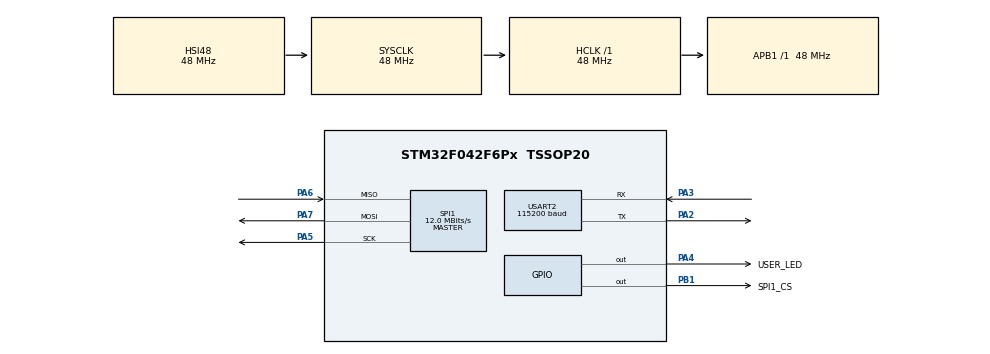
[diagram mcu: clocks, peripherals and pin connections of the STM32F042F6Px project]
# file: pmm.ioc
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Mcu.Family=STM32F0
Mcu.Name=STM32F042F6Px
Mcu.Package=TSSOP20
NVIC.USART2_IRQn=true\:0\:0\:false\:false\:true\:true
PA13.Mode=Serial_Wire
PA13.Signal=SYS_SWDIO
PA14.Mode=Serial_Wire
PA14.Signal=SYS_SWCLK
PA2.Mode=Asynchronous
PA2.Signal=USART2_TX
PA3.Mode=Asynchronous
PA3.Signal=USART2_RX
PA4.GPIO_Label=USER_LED
PA4.PinState=GPIO_PIN_SET
PA4.Signal=GPIO_Output
PA5.Mode=Full_Duplex_Master
PA5.Signal=SPI1_SCK
PA6.Mode=Full_Duplex_Master
PA6.Signal=SPI1_MISO
PA7.Mode=Full_Duplex_Master
PA7.Signal=SPI1_MOSI
PB1.GPIO_Label=SPI1_CS
PB1.GPIO_ModeDefaultOutputPP=GPIO_MODE_OUTPUT_OD
PB1.PinState=GPIO_PIN_SET
PB1.Signal=GPIO_Output
ProjectManager.HeapSize=0x200
ProjectManager.StackSize=0x400
ProjectManager.TargetToolchain=MDK-ARM V5
RCC.AHBFreq_Value=48000000
RCC.APB1Freq_Value=48000000
RCC.APB1TimFreq_Value=48000000
RCC.HCLKFreq_Value=48000000
RCC.SYSCLKFreq_VALUE=48000000
RCC.SYSCLKSource=RCC_SYSCLKSOURCE_HSI48
SPI1.BaudRatePrescaler=SPI_BAUDRATEPRESCALER_4
SPI1.CLKPhase=SPI_PHASE_2EDGE
SPI1.CalculateBaudRate=12.0 MBits/s
SPI1.DataSize=SPI_DATASIZE_8BIT
SPI1.Direction=SPI_DIRECTION_2LINES
SPI1.Mode=SPI_MODE_MASTER
SPI1.VirtualType=VM_MASTER
USART2.BaudRate=115200
USART2.Mode=MODE_TX_RX
USART2.VirtualMode-Asynchronous=VM_ASYNC
VP_SYS_VS_PINREMAP.Mode=PINREMAP
board=custom

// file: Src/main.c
/**
  ******************************************************************************
  * @file           : main.c
  * @brief          : Main program body
  ******************************************************************************
  ** This notice applies to any and all portions of this file
  * that are not between comment pairs USER CODE BEGIN and
  * USER CODE END. Other portions of this file, whether
  * inserted by the user or by software development tools
  * are owned by their respective copyright owners.
  *
  * COPYRIGHT(c) 2020 STMicroelectronics
  *
  * Redistribution and use in source and binary forms, with or without modification,
  * are permitted provided that the following conditions are met:
  *   1. Redistributions of source code must retain the above copyright notice,
  *      this list of conditions and the following disclaimer.
  *   2. Redistributions in binary form must reproduce the above copyright notice,
  *      this list of conditions and the following disclaimer in the documentation
  *      and/or other materials provided with the distribution.
  *   3. Neither the name of STMicroelectronics nor the names of its contributors
  *      may be used to endorse or promote products derived from this software
  *      without specific prior written permission.
  *
  * THIS SOFTWARE IS PROVIDED BY THE COPYRIGHT HOLDERS AND CONTRIBUTORS "AS IS"
  * AND ANY EXPRESS OR IMPLIED WARRANTIES, INCLUDING, BUT NOT LIMITED TO, THE
  * IMPLIED WARRANTIES OF MERCHANTABILITY AND FITNESS FOR A PARTICULAR PURPOSE ARE
  * DISCLAIMED. IN NO EVENT SHALL THE COPYRIGHT HOLDER OR CONTRIBUTORS BE LIABLE
  * FOR ANY DIRECT, INDIRECT, INCIDENTAL, SPECIAL, EXEMPLARY, OR CONSEQUENTIAL
  * DAMAGES (INCLUDING, BUT NOT LIMITED TO, PROCUREMENT OF SUBSTITUTE GOODS OR
  * SERVICES; LOSS OF USE, DATA, OR PROFITS; OR BUSINESS INTERRUPTION) HOWEVER
  * CAUSED AND ON ANY THEORY OF LIABILITY, WHETHER IN CONTRACT, STRICT LIABILITY,
  * OR TORT (INCLUDING NEGLIGENCE OR OTHERWISE) ARISING IN ANY WAY OUT OF THE USE
  * OF THIS SOFTWARE, EVEN IF ADVISED OF THE POSSIBILITY OF SUCH DAMAGE.
  *
  ******************************************************************************
  */
#include "main.h"
#include "stm32f0xx_hal.h"

/* USER CODE BEGIN Includes */
#include <stdio.h>
#include <string.h>
#include "helpers.h"
#include "shared.h"
/* USER CODE END Includes */

SPI_HandleTypeDef hspi1;

UART_HandleTypeDef huart2;

/* USER CODE BEGIN PV */
/* Private variables ---------------------------------------------------------*/
linear_buf uart_lb;
uint8_t uart_byte_buf[1];
uint16_t keypad_buf;
/* USER CODE END PV */

void SystemClock_Config(void);
static void MX_GPIO_Init(void);
static void MX_USART2_UART_Init(void);
static void MX_SPI1_Init(void);

/* USER CODE BEGIN PFP */
/* Private function prototypes -----------------------------------------------*/

/* USER CODE END PFP */

/* USER CODE BEGIN 0 */
int fputc(int ch, FILE *f)
{
    HAL_UART_Transmit(&huart2, (unsigned char *)&ch, 1, 100);
    return ch;
}

void HAL_UART_RxCpltCallback(UART_HandleTypeDef *huart)
{
  linear_buf_add(&uart_lb, uart_byte_buf[0]);
  // printf("%c", uart_byte_buf[0]);
}
/* USER CODE END 0 */

int main(void)
{

  /* MCU Configuration----------------------------------------------------------*/

  /* Reset of all peripherals, Initializes the Flash interface and the Systick. */
  HAL_Init();

  /* Configure the system clock */
  SystemClock_Config();

  /* Initialize all configured peripherals */
  MX_GPIO_Init();
  MX_USART2_UART_Init();
  MX_SPI1_Init();
  /* USER CODE BEGIN 2 */
  spi_test(0);
  HAL_Delay(500);
  printf("pimp my microwave\n");
  linear_buf_init(&uart_lb, 32);

  /* USER CODE END 2 */

  /* Infinite loop */
  /* USER CODE BEGIN WHILE */

/*
15  button_3
14  button_2
13  button_1
12  button_start
11  button_stop
10  button_6
9   button_5
8   button_4
7   button_UNUSED
6   button_UNUSED
5   button_0
4   button_9
3   button_8
2   button_7
1   button_time
0   button_power
*/
  while (1)
  {
    HAL_UART_Receive_IT(&huart2, uart_byte_buf, 1);
    if(linear_buf_line_available(&uart_lb))
    {
      keypad_buf = 0;
      printf("I received: %s\n", uart_lb.buf);
      if(strncmp(uart_lb.buf, "UART ", 5) != 0)
        goto done;

      if(uart_lb.buf[5] == '0')
        SetBit(keypad_buf, 5);
      else if(uart_lb.buf[5] == '1')
        SetBit(keypad_buf, 13);
      else if(uart_lb.buf[5] == '2')
        SetBit(keypad_buf, 14);
      else if(uart_lb.buf[5] == '3')
        SetBit(keypad_buf, 15);
      else if(uart_lb.buf[5] == '4')
        SetBit(keypad_buf, 8);
      else if(uart_lb.buf[5] == '5')
        SetBit(keypad_buf, 9);
      else if(uart_lb.buf[5] == '6')
        SetBit(keypad_buf, 10);
      else if(uart_lb.buf[5] == '7')
        SetBit(keypad_buf, 2);
      else if(uart_lb.buf[5] == '8')
        SetBit(keypad_buf, 3);
      else if(uart_lb.buf[5] == '9')
        SetBit(keypad_buf, 4);
      else if(uart_lb.buf[5] == 'c')
        SetBit(keypad_buf, 11);
      else if(uart_lb.buf[5] == 's')
        SetBit(keypad_buf, 12);
      else if(uart_lb.buf[5] == 't')
        SetBit(keypad_buf, 1);
      else if(uart_lb.buf[5] == 'p')
        SetBit(keypad_buf, 0);

      // printf("0x%x\n", keypad_buf);

      spi_test(keypad_buf);
      HAL_Delay(100);
      spi_test(0);

      done:
      linear_buf_reset(&uart_lb);
    }
  /* USER CODE END WHILE */

  }

}

void SystemClock_Config(void)
{

  RCC_OscInitTypeDef RCC_OscInitStruct;
  RCC_ClkInitTypeDef RCC_ClkInitStruct;

    /**Initializes the CPU, AHB and APB busses clocks
    */
  RCC_OscInitStruct.OscillatorType = RCC_OSCILLATORTYPE_HSI48;
  RCC_OscInitStruct.HSI48State = RCC_HSI48_ON;
  RCC_OscInitStruct.PLL.PLLState = RCC_PLL_NONE;
  if (HAL_RCC_OscConfig(&RCC_OscInitStruct) != HAL_OK)
  {
    _Error_Handler(__FILE__, __LINE__);
  }

    /**Initializes the CPU, AHB and APB busses clocks
    */
  RCC_ClkInitStruct.ClockType = RCC_CLOCKTYPE_HCLK|RCC_CLOCKTYPE_SYSCLK
                              |RCC_CLOCKTYPE_PCLK1;
  RCC_ClkInitStruct.SYSCLKSource = RCC_SYSCLKSOURCE_HSI48;
  RCC_ClkInitStruct.AHBCLKDivider = RCC_SYSCLK_DIV1;
  RCC_ClkInitStruct.APB1CLKDivider = RCC_HCLK_DIV1;

  if (HAL_RCC_ClockConfig(&RCC_ClkInitStruct, FLASH_LATENCY_1) != HAL_OK)
  {
    _Error_Handler(__FILE__, __LINE__);
  }

    /**Configure the Systick interrupt time
    */
  HAL_SYSTICK_Config(HAL_RCC_GetHCLKFreq()/1000);

    /**Configure the Systick
    */
  HAL_SYSTICK_CLKSourceConfig(SYSTICK_CLKSOURCE_HCLK);

  /* SysTick_IRQn interrupt configuration */
  HAL_NVIC_SetPriority(SysTick_IRQn, 0, 0);
}

/* SPI1 init function */
static void MX_SPI1_Init(void)
{

  /* SPI1 parameter configuration*/
  hspi1.Instance = SPI1;
  hspi1.Init.Mode = SPI_MODE_MASTER;
  hspi1.Init.Direction = SPI_DIRECTION_2LINES;
  hspi1.Init.DataSize = SPI_DATASIZE_8BIT;
  hspi1.Init.CLKPolarity = SPI_POLARITY_LOW;
  hspi1.Init.CLKPhase = SPI_PHASE_2EDGE;
  hspi1.Init.NSS = SPI_NSS_SOFT;
  hspi1.Init.BaudRatePrescaler = SPI_BAUDRATEPRESCALER_4;
  hspi1.Init.FirstBit = SPI_FIRSTBIT_MSB;
  hspi1.Init.TIMode = SPI_TIMODE_DISABLE;
  hspi1.Init.CRCCalculation = SPI_CRCCALCULATION_DISABLE;
  hspi1.Init.CRCPolynomial = 7;
  hspi1.Init.CRCLength = SPI_CRC_LENGTH_DATASIZE;
  hspi1.Init.NSSPMode = SPI_NSS_PULSE_DISABLE;
  if (HAL_SPI_Init(&hspi1) != HAL_OK)
  {
    _Error_Handler(__FILE__, __LINE__);
  }

}

/* USART2 init function */
static void MX_USART2_UART_Init(void)
{

  huart2.Instance = USART2;
  huart2.Init.BaudRate = 115200;
  huart2.Init.WordLength = UART_WORDLENGTH_8B;
  huart2.Init.StopBits = UART_STOPBITS_1;
  huart2.Init.Parity = UART_PARITY_NONE;
  huart2.Init.Mode = UART_MODE_TX_RX;
  huart2.Init.HwFlowCtl = UART_HWCONTROL_NONE;
  huart2.Init.OverSampling = UART_OVERSAMPLING_16;
  huart2.Init.OneBitSampling = UART_ONE_BIT_SAMPLE_DISABLE;
  huart2.AdvancedInit.AdvFeatureInit = UART_ADVFEATURE_NO_INIT;
  if (HAL_UART_Init(&huart2) != HAL_OK)
  {
    _Error_Handler(__FILE__, __LINE__);
  }

}

/** Configure pins as
        * Analog
        * Input
        * Output
        * EVENT_OUT
        * EXTI
*/
static void MX_GPIO_Init(void)
{

  GPIO_InitTypeDef GPIO_InitStruct;

  /* GPIO Ports Clock Enable */
  __HAL_RCC_GPIOA_CLK_ENABLE();
  __HAL_RCC_GPIOB_CLK_ENABLE();

  /*Configure GPIO pin Output Level */
  HAL_GPIO_WritePin(USER_LED_GPIO_Port, USER_LED_Pin, GPIO_PIN_SET);

  /*Configure GPIO pin Output Level */
  HAL_GPIO_WritePin(SPI1_CS_GPIO_Port, SPI1_CS_Pin, GPIO_PIN_SET);

  /*Configure GPIO pin : USER_LED_Pin */
  GPIO_InitStruct.Pin = USER_LED_Pin;
  GPIO_InitStruct.Mode = GPIO_MODE_OUTPUT_PP;
  GPIO_InitStruct.Pull = GPIO_NOPULL;
  GPIO_InitStruct.Speed = GPIO_SPEED_FREQ_LOW;
  HAL_GPIO_Init(USER_LED_GPIO_Port, &GPIO_InitStruct);

  /*Configure GPIO pin : SPI1_CS_Pin */
  GPIO_InitStruct.Pin = SPI1_CS_Pin;
  GPIO_InitStruct.Mode = GPIO_MODE_OUTPUT_OD;
  GPIO_InitStruct.Pull = GPIO_NOPULL;
  GPIO_InitStruct.Speed = GPIO_SPEED_FREQ_LOW;
  HAL_GPIO_Init(SPI1_CS_GPIO_Port, &GPIO_InitStruct);

}

void _Error_Handler(char *file, int line)
{
  while(1)
  {
  }
}

/************************ (C) COPYRIGHT STMicroelectronics *****END OF FILE****/
